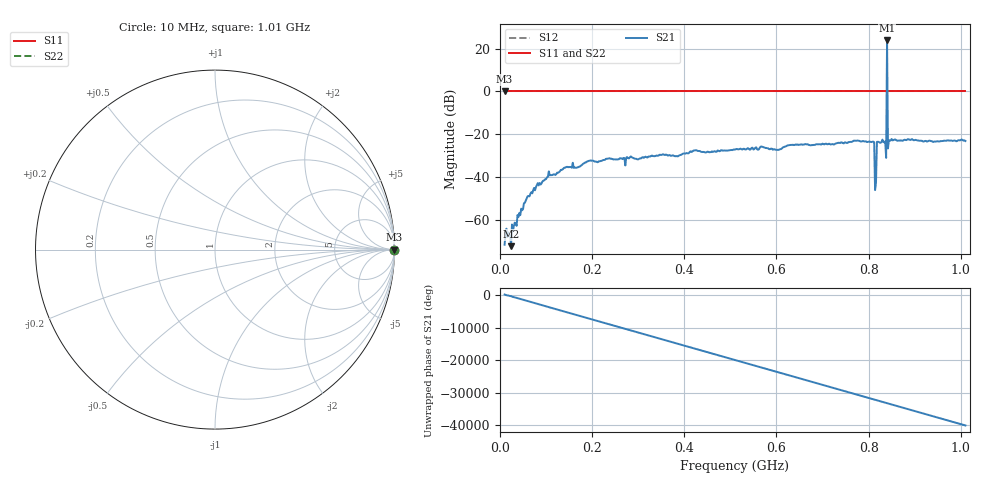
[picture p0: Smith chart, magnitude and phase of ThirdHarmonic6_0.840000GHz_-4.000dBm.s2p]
! 8/16/2025 3:50:28 AM
! C:\ANRITSUVNA\TEMP\TEMP.S2P
! CHANNEL.1
! TR.MEASUREMENT
! RAW.DATA
! RF.CORRECTION.OFF
! AVERAGING.OFF
! IF.BANDWIDTH: 5KHZ
! SWEEPTYPE:  FREQ.SWEEP(Linear)
! Reference Plane Port Info
! PORT:  PORT1  PORT2
! DISTANCE:  0  m  0  m
! TIME:  0  s  0  s
! PHASE.OFFSET:  0  deg.  0  deg.
! LOSS:  0  dB  0  dB
! REF.LOSS:  0  dB  0  dB
! REF.FREQ:  0  Hz  0  Hz
! Power Info
! POWER:  -20  dBm  -20  dBm
! EFF.POWER:  -20  dBm  -20  dBm
! SOURCE.ATTEN:  0  dB  0  dB
! TEST.ATTEN:  0  dB  0  dB
# GHZ S RI R 50.0
! FREQ.GHZ  S11RE  S11IM  S21RE  S21IM  S12RE  S12IM  S22RE  S22IM
!; PortSelection: Port_12
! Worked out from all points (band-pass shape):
!   501 points, 10 MHz to 1.01 GHz, reference 50 ohm
!   highest |S21| = 23.82 dB at 840 MHz (marker M1); lowest = -72.4 dB at 24 MHz (marker M2)
!   |S21| within 3 dB of the highest: 839.8908 MHz to 840.1188 MHz (228 kHz wide, 0.0271 % of centre)
!   lowest |S11| = 0.0 dB at 10 MHz (marker M3)
!   |S11| at or under -10 dB: nowhere
!   |S22| runs from 0.0 to 0.0 dB; largest |S21 - S12| = 16
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0.01  1 0  -0.000186 0.00018  1 0  1 0
0.016  1 0  -0.000323 -0.000218  1 0  1 0
0.02  1 0  -2.43e-05 0.000406  1 0  1 0
0.024  1 0  0.000238 -2.81e-05  1 0  1 0
0.056  1 0  -0.000746 0.00271  1 0  1 0
0.082  1 0  -0.0036 0.00617  1 0  1 0
0.142  1 0  -0.0152 -0.00643  1 0  1 0
0.178  1 0  -0.0185 -0.00485  1 0  1 0
0.344  1 0  0.0309 -0.00505  1 0  1 0
0.51  1 0  -0.0415 0.0133  1 0  1 0
0.678  1 0  -0.02 -0.0517  1 0  1 0
0.808  1 0  0.0404 0.0526  1 0  1 0
0.812  1 0  -0.0226 -0.0607  1 0  1 0
0.816  1 0  0.00126 0.00719  1 0  1 0
0.818  1 0  0.0637 0.0178  1 0  1 0
0.822  1 0  -0.0583 -0.031  1 0  1 0
0.834  1 0  -0.00138 0.064  1 0  1 0
0.836  1 0  0.0662 0.0145  1 0  1 0
0.84  1 0  -15.01 -3.992  1 0  1 0
0.844  1 0  0.0496 0.0526  1 0  1 0
0.846  1 0  0.0582 -0.0388  1 0  1 0
1.01  1 0  -0.0648 -0.024  1 0  1 0
